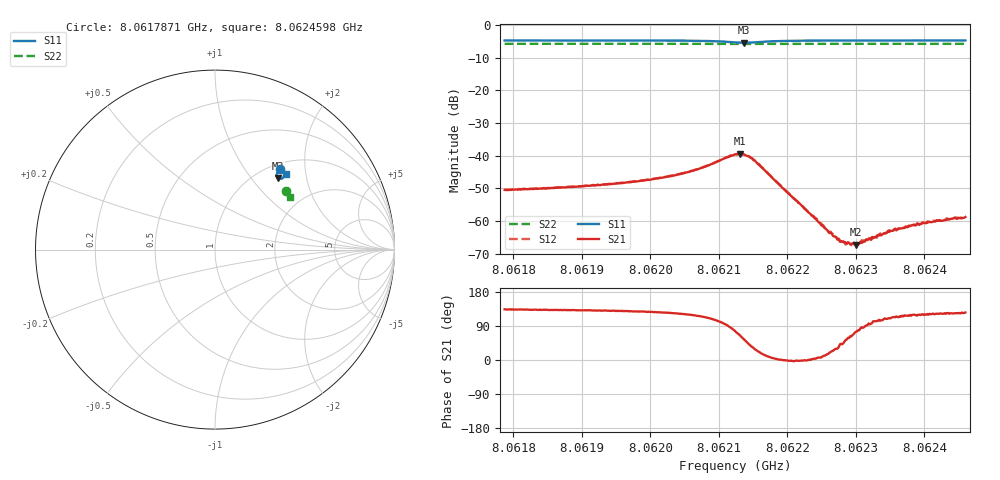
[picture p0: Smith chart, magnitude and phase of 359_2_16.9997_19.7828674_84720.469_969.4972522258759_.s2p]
#  HZ  S  RI  R  50.00
! Rohde & Schwarz Vector Network Analyzer
! Rohde-Schwarz,ZNB20-2Port,1311601062101988,3.16
! Created: UTC 3/20/2024, 11:08:09 PM
! freq[Hz]  re:S11  im:S11  re:S21  im:S21  re:S12  im:S12  re:S22  im:S22
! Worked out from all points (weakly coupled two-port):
!   401 points, 8.0617871 GHz to 8.0624598 GHz, reference 50 ohm
!   highest |S21| = -39.39 dB at 8.0621302 GHz (marker M1); lowest = -67.3 dB at 8.0623 GHz (marker M2)
!   lowest |S11| = -5.5 dB at 8.0621369 GHz (marker M3), VSWR 3.26, Z = 61.7 + j68.6 ohm
!   |S11| at or under -10 dB: nowhere
!   |S22| runs from -5.9 to -5.8 dB; largest |S21 - S12| = 0.00082
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8.06178712e9  0.3635 0.4469  -0.00206 0.00216  -0.00191 0.00231  0.3965 0.3244
8.06189979e9  0.371 0.4403  -0.00223 0.00254  -0.00208 0.00269  0.4008 0.3189
8.06196202e9  0.3757 0.4357  -0.00242 0.00297  -0.00223 0.00315  0.403 0.3156
8.06201247e9  0.3798 0.4306  -0.00264 0.00366  -0.00242 0.00383  0.4051 0.313
8.0620646e9  0.3843 0.4209  -0.0028 0.00529  -0.00249 0.00551  0.4069 0.3101
8.06212346e9  0.3666 0.394  0.00242 0.0102  0.00316 0.00996  0.4078 0.3065
8.06213019e9  0.358 0.3948  0.00441 0.00978  0.00508 0.00948  0.4075 0.3061
8.06213691e9  0.3498 0.3993  0.00612 0.00832  0.0067 0.00797  0.4075 0.3063
8.06214532e9  0.3437 0.409  0.00732 0.00602  0.00774 0.00543  0.4077 0.3063
8.06215205e9  0.3433 0.4172  0.00734 0.00406  0.00767 0.00356  0.408 0.3063
8.06223613e9  0.3728 0.4346  0.00121 6.15e-05  0.0012 -1.8e-05  0.4125 0.3027
8.062258e9  0.3765 0.4331  0.0007 0.000191  0.000707 0.000133  0.4133 0.3015
8.06226977e9  0.378 0.4323  0.000505 0.000283  0.000519 0.000235  0.4137 0.301
8.06228154e9  0.3793 0.4316  0.000352 0.000339  0.000337 0.00029  0.4142 0.3003
8.06229499e9  0.3808 0.4307  0.000182 0.000403  0.000193 0.000411  0.4148 0.2996
8.06230004e9  0.3814 0.4304  0.000114 0.000418  0.000141 0.00042  0.4149 0.2995
8.06230677e9  0.3821 0.4299  4.83e-05 0.000476  6.81e-05 0.000461  0.4152 0.299
8.0623219e9  0.3836 0.4289  -5.39e-05 0.000521  -2.38e-05 0.00051  0.4157 0.2982
8.06233535e9  0.3846 0.4283  -0.000144 0.000593  -0.00014 0.000622  0.4161 0.2976
8.06234881e9  0.3858 0.4273  -0.000236 0.000637  -0.000228 0.000686  0.4166 0.2969
8.06240094e9  0.3896 0.4243  -0.000468 0.000798  -0.00041 0.000838  0.4185 0.2941
8.0624598e9  0.3937 0.421  -0.000666 0.000936  -0.000594 0.001  0.4205 0.2911
